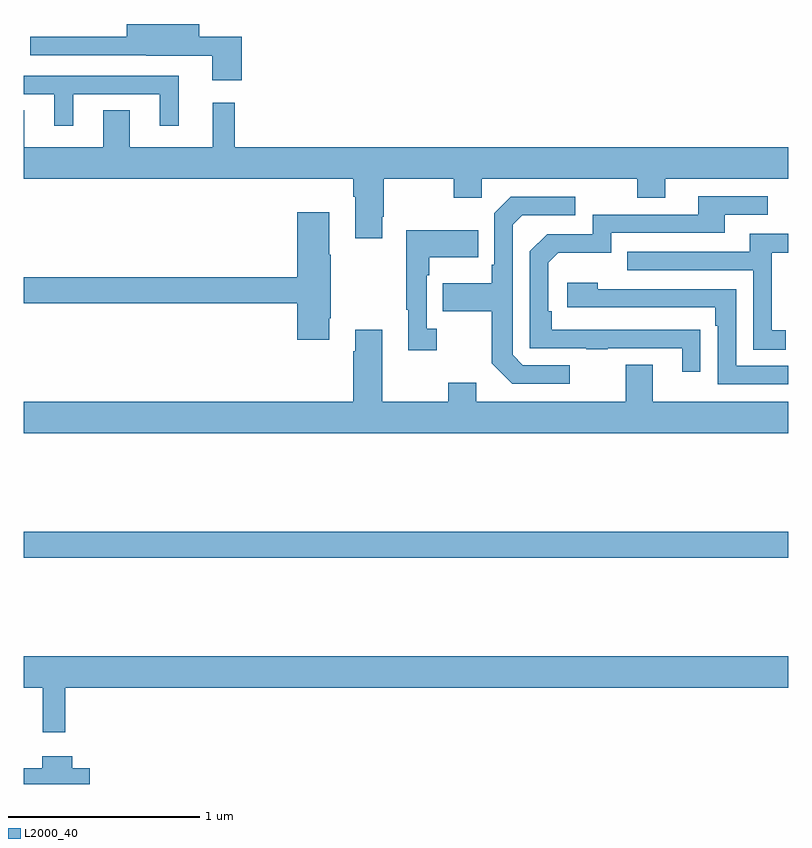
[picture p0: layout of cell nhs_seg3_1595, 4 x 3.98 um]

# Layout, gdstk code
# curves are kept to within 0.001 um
import gdstk
lib = gdstk.Library(unit=1e-6, precision=1e-09)
def R(c, l, rs):  # rectangles x0, y0, x1, y1
    for r in rs: c.add(gdstk.rectangle(r[:2], r[2:], *l))
def P(c, l, *ps):  # polygons
    for p in ps: c.add(gdstk.Polygon(p, *l))
L2000_40 = (2000, 40)

nhs_seg3_1595 = lib.new_cell('nhs_seg3_1595')
R(nhs_seg3_1595, L2000_40, [(193,713.584,197,713.72)])
P(nhs_seg3_1595, L2000_40, [(194.141,716.31),(193.918,716.31),(193.918,716.377),(193.538,716.377),(193.538,716.311),(193.035,716.311),(193.035,716.214),(193.642,716.214),(193.642,716.212),(193.985,716.212),(193.985,716.082),(194.141,716.082)],
  [(193.258,716.01),(193.712,716.01),(193.712,715.845),(193.811,715.845),(193.811,716.106),(193,716.106),(193,716.01),(193.16,716.01),(193.16,715.845),(193.258,715.845)],
  [(194.875,715.369),(194.883,715.369),(194.883,715.568),(195.25,715.568),(195.25,715.469),(195.396,715.469),(195.396,715.568),(196.21,715.568),(196.21,715.469),(196.357,715.469),(196.357,715.568),(197,715.568),(197,715.732),(194.105,715.732),(194.105,715.966),(193.988,715.966),(193.988,715.732),(193.555,715.732),(193.555,715.925),(193.415,715.925),(193.415,715.732),(193.003,715.732),(193.003,715.925),(193,715.925),(193,715.568),(194.723,715.568),(194.723,715.472),(194.735,715.472),(194.735,715.257),(194.875,715.257)],
  [(196.541,714.776),(195.764,714.777),(195.764,714.874),(195.744,714.874),(195.744,715.128),(195.797,715.181),(196.074,715.181),(196.074,715.284),(196.669,715.284),(196.669,715.38),(196.894,715.38),(196.894,715.476),(196.529,715.476),(196.529,715.38),(195.978,715.38),(195.978,715.278),(195.738,715.278),(195.648,715.188),(195.648,714.681),(195.943,714.681),(195.943,714.676),(196.055,714.676),(196.055,714.681),(196.445,714.681),(196.445,714.558),(196.541,714.558)],
  [(195.856,714.591),(195.612,714.591),(195.558,714.645),(195.558,715.326),(195.609,715.377),(195.886,715.377),(195.886,715.473),(195.549,715.473),(195.462,715.386),(195.462,715.117),(195.45,715.117),(195.45,715.021),(195.193,715.021),(195.193,714.874),(195.45,714.874),(195.45,714.601),(195.555,714.495),(195.856,714.495)],
  [(194.599,714.838),(194.607,714.838),(194.607,715.169),(194.599,715.169),(194.599,715.393),(194.432,715.393),(194.432,715.052),(193,715.052),(193,714.916),(194.432,714.916),(194.432,714.726),(194.599,714.726)],
  [(195.16,714.782),(195.108,714.782),(195.108,715.061),(195.121,715.061),(195.121,715.157),(195.377,715.157),(195.377,715.297),(195,715.297),(195,714.881),(195.011,714.881),(195.011,714.669),(195.16,714.669)],
  [(196.987,714.774),(196.914,714.774),(196.914,715.179),(197,715.179),(197,715.279),(196.799,715.279),(196.799,715.185),(196.159,715.185),(196.159,715.089),(196.818,715.089),(196.818,714.673),(196.987,714.673)],
  [(197,714.588),(196.728,714.588),(196.728,714.99),(196.004,714.99),(196.004,715.024),(195.843,715.024),(195.843,714.894),(196.619,714.894),(196.619,714.797),(196.632,714.797),(196.632,714.492),(197,714.492)],
  [(196.151,714.595),(196.151,714.4),(195.367,714.4),(195.367,714.499),(195.22,714.499),(195.22,714.4),(194.875,714.4),(194.875,714.778),(194.735,714.778),(194.735,714.665),(194.723,714.665),(194.723,714.4),(193,714.4),(193,714.236),(197,714.236),(197,714.4),(196.291,714.4),(196.291,714.595)],
  [(193.217,712.904),(197,712.904),(197,713.068),(193,713.068),(193,712.904),(193.1,712.904),(193.1,712.671),(193.217,712.671)],
  [(193.345,712.483),(193.253,712.483),(193.253,712.546),(193.097,712.546),(193.097,712.483),(193.001,712.483),(193.001,712.422),(193,712.422),(193,712.4),(193.345,712.4)])

lib.write_gds('nhs_seg3_1595.gds')
